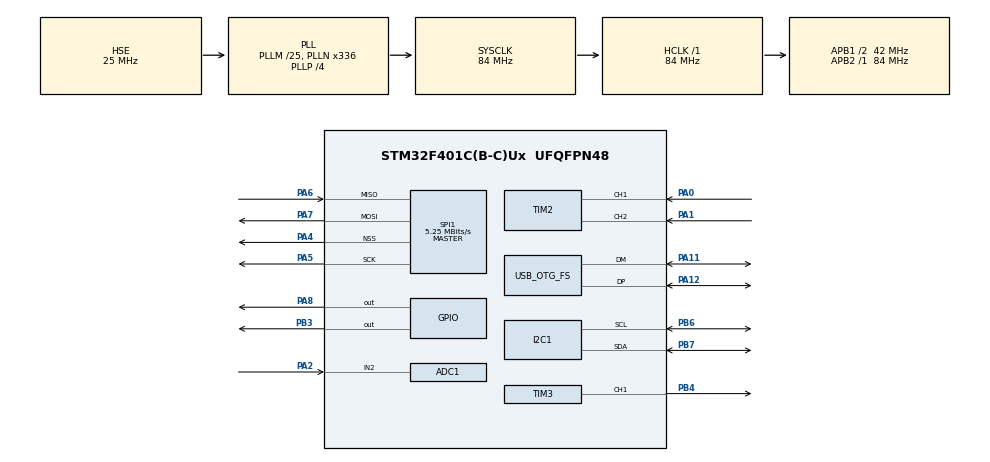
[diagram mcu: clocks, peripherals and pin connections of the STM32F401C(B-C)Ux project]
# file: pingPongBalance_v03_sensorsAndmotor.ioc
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ADC1.Channel-0\#ChannelRegularConversion=ADC_CHANNEL_2
ADC1.ContinuousConvMode=ENABLE
ADC1.DMAContinuousRequests=ENABLE
ADC1.EOCSelection=ADC_EOC_SEQ_CONV
ADC1.NbrOfConversion=1
ADC1.NbrOfConversionFlag=1
ADC1.Rank-0\#ChannelRegularConversion=1
ADC1.SamplingTime-0\#ChannelRegularConversion=ADC_SAMPLETIME_3CYCLES
ADC1.master=1
Dma.ADC1.0.Direction=DMA_PERIPH_TO_MEMORY
Dma.ADC1.0.FIFOMode=DMA_FIFOMODE_DISABLE
Dma.ADC1.0.Instance=DMA2_Stream0
Dma.ADC1.0.MemDataAlignment=DMA_MDATAALIGN_HALFWORD
Dma.ADC1.0.MemInc=DMA_MINC_ENABLE
Dma.ADC1.0.Mode=DMA_CIRCULAR
Dma.ADC1.0.PeriphDataAlignment=DMA_PDATAALIGN_HALFWORD
Dma.ADC1.0.PeriphInc=DMA_PINC_DISABLE
Dma.ADC1.0.Priority=DMA_PRIORITY_LOW
Dma.I2C1_TX.1.Direction=DMA_MEMORY_TO_PERIPH
Dma.I2C1_TX.1.FIFOMode=DMA_FIFOMODE_DISABLE
Dma.I2C1_TX.1.Instance=DMA1_Stream6
Dma.I2C1_TX.1.MemDataAlignment=DMA_MDATAALIGN_BYTE
Dma.I2C1_TX.1.MemInc=DMA_MINC_ENABLE
Dma.I2C1_TX.1.Mode=DMA_NORMAL
Dma.I2C1_TX.1.PeriphDataAlignment=DMA_PDATAALIGN_BYTE
Dma.I2C1_TX.1.PeriphInc=DMA_PINC_DISABLE
Dma.I2C1_TX.1.Priority=DMA_PRIORITY_LOW
Dma.Request0=ADC1
Dma.Request1=I2C1_TX
Dma.Request2=SPI1_RX
Dma.Request3=SPI1_TX
Dma.SPI1_RX.2.Direction=DMA_PERIPH_TO_MEMORY
Dma.SPI1_RX.2.FIFOMode=DMA_FIFOMODE_DISABLE
Dma.SPI1_RX.2.Instance=DMA2_Stream2
Dma.SPI1_RX.2.MemDataAlignment=DMA_MDATAALIGN_BYTE
Dma.SPI1_RX.2.MemInc=DMA_MINC_ENABLE
Dma.SPI1_RX.2.Mode=DMA_NORMAL
Dma.SPI1_RX.2.PeriphDataAlignment=DMA_PDATAALIGN_BYTE
Dma.SPI1_RX.2.PeriphInc=DMA_PINC_DISABLE
Dma.SPI1_RX.2.Priority=DMA_PRIORITY_LOW
Dma.SPI1_TX.3.Direction=DMA_MEMORY_TO_PERIPH
Dma.SPI1_TX.3.FIFOMode=DMA_FIFOMODE_DISABLE
Dma.SPI1_TX.3.Instance=DMA2_Stream3
Dma.SPI1_TX.3.MemDataAlignment=DMA_MDATAALIGN_BYTE
Dma.SPI1_TX.3.MemInc=DMA_MINC_ENABLE
Dma.SPI1_TX.3.Mode=DMA_NORMAL
Dma.SPI1_TX.3.PeriphDataAlignment=DMA_PDATAALIGN_BYTE
Dma.SPI1_TX.3.PeriphInc=DMA_PINC_DISABLE
Dma.SPI1_TX.3.Priority=DMA_PRIORITY_LOW
I2C1.I2C_Mode=I2C_Fast
Mcu.Family=STM32F4
Mcu.Name=STM32F401C(B-C)Ux
Mcu.Package=UFQFPN48
NVIC.ADC_IRQn=true\:0\:0\:false\:false\:true\:true\:true\:true
NVIC.DMA1_Stream6_IRQn=true\:0\:0\:false\:false\:true\:false\:true\:true
NVIC.DMA2_Stream0_IRQn=true\:0\:0\:false\:false\:true\:false\:true\:true
NVIC.DMA2_Stream2_IRQn=true\:0\:0\:false\:false\:true\:false\:true\:true
NVIC.DMA2_Stream3_IRQn=true\:0\:0\:false\:false\:true\:false\:true\:true
NVIC.I2C1_EV_IRQn=true\:0\:0\:false\:false\:true\:true\:true\:true
NVIC.OTG_FS_IRQn=true\:0\:0\:false\:false\:true\:false\:true\:true
NVIC.PriorityGroup=NVIC_PRIORITYGROUP_4
NVIC.SPI1_IRQn=true\:0\:0\:false\:false\:true\:true\:true\:true
NVIC.TIM1_TRG_COM_TIM11_IRQn=true\:15\:0\:false\:false\:true\:false\:true\:true
NVIC.TIM1_UP_TIM10_IRQn=true\:0\:0\:false\:false\:true\:true\:true\:true
NVIC.TimeBase=TIM1_TRG_COM_TIM11_IRQn
NVIC.TimeBaseIP=TIM11
PA0-WKUP.Signal=S_TIM2_CH1_ETR
PA1.Signal=S_TIM2_CH2
PA11.Mode=Device_Only
PA11.Signal=USB_OTG_FS_DM
PA12.Mode=Device_Only
PA12.Signal=USB_OTG_FS_DP
PA2.Signal=SharedAnalog_PA2
PA4.Mode=NSS_Signal_Hard_Output
PA4.Signal=SPI1_NSS
PA5.Mode=Full_Duplex_Master
PA5.Signal=SPI1_SCK
PA6.Mode=Full_Duplex_Master
PA6.Signal=SPI1_MISO
PA7.Mode=Full_Duplex_Master
PA7.Signal=SPI1_MOSI
PA8.Signal=GPIO_Output
PB3.Signal=GPIO_Output
PB4.Signal=S_TIM3_CH1
PB6.Mode=I2C
PB6.Signal=I2C1_SCL
PB7.Mode=I2C
PB7.Signal=I2C1_SDA
PC14-OSC32_IN.Mode=LSE-External-Oscillator
PC14-OSC32_IN.Signal=RCC_OSC32_IN
PC15-OSC32_OUT.Mode=LSE-External-Oscillator
PC15-OSC32_OUT.Signal=RCC_OSC32_OUT
PH0\ -\ OSC_IN.Mode=HSE-External-Oscillator
PH0\ -\ OSC_IN.Signal=RCC_OSC_IN
PH1\ -\ OSC_OUT.Mode=HSE-External-Oscillator
PH1\ -\ OSC_OUT.Signal=RCC_OSC_OUT
ProjectManager.HeapSize=0x200
ProjectManager.StackSize=0x400
ProjectManager.TargetToolchain=STM32CubeIDE
RCC.48MHZClocksFreq_Value=48000000
RCC.AHBFreq_Value=84000000
RCC.APB1CLKDivider=RCC_HCLK_DIV2
RCC.APB1Freq_Value=42000000
RCC.APB1TimFreq_Value=84000000
RCC.APB2Freq_Value=84000000
RCC.APB2TimFreq_Value=84000000
RCC.CortexFreq_Value=84000000
RCC.HCLKFreq_Value=84000000
RCC.HSE_VALUE=25000000
RCC.HSI_VALUE=16000000
RCC.PLLM=25
RCC.PLLN=336
RCC.PLLP=RCC_PLLP_DIV4
RCC.PLLQ=7
RCC.RCC_RTC_Clock_Source=RCC_RTCCLKSOURCE_LSE
RCC.RCC_RTC_Clock_SourceVirtual=RCC_RTCCLKSOURCE_LSE
RCC.SYSCLKFreq_VALUE=84000000
RCC.SYSCLKSource=RCC_SYSCLKSOURCE_PLLCLK
RCC.VCOOutputFreq_Value=336000000
SH.S_TIM2_CH1_ETR.0=TIM2_CH1,Encoder_Interface
SH.S_TIM2_CH2.0=TIM2_CH2,Encoder_Interface
SH.S_TIM3_CH1.0=TIM3_CH1,PWM Generation1 CH1
SH.SharedAnalog_PA2.0=GPIO_Analog
SH.SharedAnalog_PA2.1=ADC1_IN2,IN2
SPI1.BaudRatePrescaler=SPI_BAUDRATEPRESCALER_16
SPI1.CalculateBaudRate=5.25 MBits/s
SPI1.Direction=SPI_DIRECTION_2LINES
SPI1.Mode=SPI_MODE_MASTER
SPI1.VirtualNSS=VM_NSSHARD
SPI1.VirtualType=VM_MASTER
TIM10.Period=41999
TIM3.Channel-PWM\ Generation1\ CH1=TIM_CHANNEL_1
TIM3.Period=4199
USB_DEVICE.CLASS_NAME_FS=CDC
USB_DEVICE.VirtualMode=Cdc
USB_DEVICE.VirtualModeFS=Cdc_FS
USB_OTG_FS.VirtualMode=Device_Only
VP_CRC_VS_CRC.Mode=CRC_Activate
VP_SYS_VS_tim11.Mode=TIM11
VP_TIM10_VS_ClockSourceINT.Mode=Enable_Timer
VP_USB_DEVICE_VS_USB_DEVICE_CDC_FS.Mode=CDC_FS
board=custom

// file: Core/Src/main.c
/* USER CODE BEGIN Header */
/**
  ******************************************************************************
  * @file           : main.c
  * @brief          : Main program body
  ******************************************************************************
  * @attention
  *
  * Copyright (c) 2025 STMicroelectronics.
  * All rights reserved.
  *
  * This software is licensed under terms that can be found in the LICENSE file
  * in the root directory of this software component.
  * If no LICENSE file comes with this software, it is provided AS-IS.
  *
  ******************************************************************************
  */
/* USER CODE END Header */
#include "main.h"
#include "usb_device.h"

/* USER CODE BEGIN Includes */
#include "dist_adc.h"
#include "ssd1306.h"
#include "fonts.h"
#include "mt6816.h"
#include "encoder_speed.h"
#include "motor_driver.h"
#include "virtual_wall.h"
#include <math.h>
#include "pid.h"
#include "usb_telemetry.h"
#include <string.h>
#include <stdio.h>
#include "stm32f4xx_hal.h"   // or your MCU family header
#include "usbd_cdc_if.h"

/* USER CODE END Includes */

/* USER CODE BEGIN PD */
extern uint8_t CDC_Transmit(const void* Buf, uint32_t Len);
/* USER CODE END PD */

ADC_HandleTypeDef hadc1;
DMA_HandleTypeDef hdma_adc1;

CRC_HandleTypeDef hcrc;

I2C_HandleTypeDef hi2c1;
DMA_HandleTypeDef hdma_i2c1_tx;

SPI_HandleTypeDef hspi1;
DMA_HandleTypeDef hdma_spi1_rx;
DMA_HandleTypeDef hdma_spi1_tx;

TIM_HandleTypeDef htim2;
TIM_HandleTypeDef htim3;
TIM_HandleTypeDef htim10;

void SystemClock_Config(void);
static void MX_GPIO_Init(void);
static void MX_DMA_Init(void);
static void MX_CRC_Init(void);
static void MX_I2C1_Init(void);
static void MX_SPI1_Init(void);
static void MX_TIM2_Init(void);
static void MX_TIM3_Init(void);
static void MX_ADC1_Init(void);
static void MX_TIM10_Init(void);

/* USER CODE BEGIN 0 */
#define ANGLE_MIN_DEG   -25.0f
#define ANGLE_MAX_DEG    25.0f
#define MOTOR_TO_ANGLE_SIGN   (+1)
MotorDriver_HandleTypeDef motor;

EncoderSpeed_Handle_t enc;
uint16_t mt6816_zero = 8344 & 0x3FFF; //Set Zero position here
MT6816_Handle_t mt6816;

#define ADC_DMA_LEN  64
static uint16_t adc_dma_buf[ADC_DMA_LEN];
static AdcDistance_t adcDist;

// -------- Cascaded PID --------
PID_TypeDef pidPos;   // outer: ball position -> angle setpoint
PID_TypeDef pidAng;   // inner: angle -> motor command

// Hardcoded defaults (edit these)
static const float DEFAULT_POS_KP = 22.302f;
static const float DEFAULT_POS_KI = 0.0f;
static const float DEFAULT_POS_KD = 4.587f;

static const float DEFAULT_ANG_KP = 0.02115f;
static const float DEFAULT_ANG_KI = 0.02104f;
static const float DEFAULT_ANG_KD = 0.0001710f;

// Outer PID (position)
double pos_in = 0.0, pos_out = 0.0, pos_sp = 0.0;  // pos_out = ang_sp (deg)

// Inner PID (angle)
double ang_in = 0.0, ang_out = 0.0, ang_sp = 0.0;  // ang_out = motor cmd [-1..+1]

// Start gains (tune later)
static double Kp_pos = DEFAULT_POS_KP, Ki_pos = DEFAULT_POS_KI, Kd_pos = DEFAULT_POS_KD;   // d -> degrees
static double Kp_ang = DEFAULT_ANG_KP, Ki_ang = DEFAULT_ANG_KI, Kd_ang = DEFAULT_ANG_KD;   // degrees -> cmd

// Optional: outer deadband to reduce jitter near center
static const float POS_DEADBAND = 0.01f; // normalized d

int findCharPosition(const char *buffer, size_t size, char character) {
    for (size_t i = 0; i < size; ++i) {
        if (buffer[i] == character) {
            return (int)i;
        }
    }
    return -1; // '\r' not found
}

void USB_CDC_RxHandler(uint8_t *buf, uint32_t len)
{
	USB_Command_Process(buf, len);
}

void HAL_I2C_MemTxCpltCallback(I2C_HandleTypeDef *hi2c) {
    ssd1306_I2C_TxCpltCallback(hi2c);
}

static void OLED_Render(float V, float P, float A, float R)
{
    char buf[32];

    ssd1306_Fill(Black);

    // Title
    ssd1306_SetCursor(0, 0);
    ssd1306_WriteString("Ball Beam", Font_11x18, White);

    // Second line: V
    ssd1306_SetCursor(0, 16);
    snprintf(buf, sizeof(buf), "V = %.3f V", V);
    ssd1306_WriteString(buf, Font_7x10, White);

    // Third line: P
    ssd1306_SetCursor(0, 28);
    snprintf(buf, sizeof(buf), "P = %.3f", P);
    ssd1306_WriteString(buf, Font_7x10, White);

    // Fourth line: A
    ssd1306_SetCursor(0, 40);
    snprintf(buf, sizeof(buf), "A = %.3f deg", A);
    ssd1306_WriteString(buf, Font_7x10, White);

    // Fifth line: R
    ssd1306_SetCursor(0, 52);
    snprintf(buf, sizeof(buf), "R = %.3f rad/s", R);
    ssd1306_WriteString(buf, Font_7x10, White);

    // Start non-blocking DMA flush (returns immediately)
    (void)ssd1306_UpdateScreen_DMA(&hi2c1);
}

void HAL_SPI_TxRxCpltCallback(SPI_HandleTypeDef * hspi)
{
//		absEnc_spiDone = 1;// TX-RX Done
		MT6816_SpiTxRxCpltCallback(&mt6816, hspi);
}

int32_t MT6816_GetZeroed_Int32(uint16_t raw14)
{
    // 1) Force to 14-bit
    uint16_t raw = raw14 & 0x3FFF;

    // 2) Zero with wrap in 14 bits
    uint16_t z = (raw - mt6816_zero) & 0x3FFF;   // 0..16383

    // 3) Convert to signed around 0
    //    0..8191  ->  0..8191
    //    8192..16383 -> -8192..-1
    if (z >= 8192U)
        return (int32_t)z - 16384;   // 16384 = 1 << 14
    else
        return (int32_t)z;
}
/* USER CODE END 0 */

int main(void)
{

  /* MCU Configuration--------------------------------------------------------*/

  /* Reset of all peripherals, Initializes the Flash interface and the Systick. */
  HAL_Init();

  /* Configure the system clock */
  SystemClock_Config();

  /* Initialize all configured peripherals */
  MX_GPIO_Init();
  MX_DMA_Init();
  MX_CRC_Init();
  MX_USB_DEVICE_Init();
  MX_I2C1_Init();
  MX_SPI1_Init();
  MX_TIM2_Init();
  MX_TIM3_Init();
  MX_ADC1_Init();
  MX_TIM10_Init();
  /* USER CODE BEGIN 2 */
  //Motor driver init
  uint32_t period = __HAL_TIM_GET_AUTORELOAD(&htim3);
  MotorDriver_Init(&motor,
                   &htim3,
                   TIM_CHANNEL_1,
                   GPIOB,
                   GPIO_PIN_3,
                   period,
                   GPIO_PIN_RESET);   // "forward" = pin low
  MotorDriver_Start(&motor);

  //Timer encoder counter init
  HAL_TIM_Encoder_Start(&htim2, TIM_CHANNEL_ALL);
  EncoderSpeed_Init(&enc, &htim2,
                        98u,      // counts_per_rev
                        14.0f,      // gear_ratio
                        0.001f);    // dt_s (TIM10 period)
  EncoderSpeed_SetLowPass(&enc, 2.0f);     // Hz cutoff
  HAL_TIM_Base_Start_IT(&htim10);

  //Abs enc command building
  MT6816_Init(&mt6816, &hspi1, 3);

  // Init lcd using one of the stm32HAL i2c typedefs
  if (ssd1306_Init(&hi2c1) != 0) {
//    ; //comment error handler if you plug out the board
	Error_Handler();
  }
  HAL_Delay(1000);

  ssd1306_Fill(Black);
  if (!ssd1306_IsBusy()) {
      // draw text into SSD1306_Buffer...
      ssd1306_UpdateScreen_DMA(&hi2c1);
  }

  HAL_Delay(1000);

  // Preset scaling:
  // we want distance = 0..1 over that window, inverted (near=1, far=0), with mild nonlinearity.

  AdcDist_Init(&adcDist, &hadc1,
               adc_dma_buf, ADC_DMA_LEN,
			   /* v_ref */ 3.3f,
			   /* adc_bits */ 12,
               /* v_low */ 0.44f,
               /* v_mid */ 1.73f,   // if not between low & high, it will auto-set to midpoint
               /* v_high*/ 3.0f,
               /* invert */ 0,
               /* gamma  */ 1.0f,
               /* compute_period_ms (unused) */ 0);
  AdcDist_SetFilterAlpha(&adcDist, 0.05);
//  AdcDist_SetMedianWindow(&adcDist, 5);
  AdcDist_Start(&adcDist);

  // ============ Cascaded PID ============

  g_ang_kp = DEFAULT_ANG_KP;
  g_ang_ki = DEFAULT_ANG_KI;
  g_ang_kd = DEFAULT_ANG_KD;

  g_pos_kp = DEFAULT_POS_KP;
  g_pos_ki = DEFAULT_POS_KI;
  g_pos_kd = DEFAULT_POS_KD;

  // Outer: ball position -> desired angle (deg)
  PID2(&pidPos,
       &pos_in,
       &pos_out,
       &pos_sp,
       Kp_pos, Ki_pos, Kd_pos,
       _PID_CD_REVERSE);   // REVERSE matches what you observed for ball centering

  PID_SetOutputLimits(&pidPos, ANGLE_MIN_DEG, ANGLE_MAX_DEG);
  pidPos.SampleTime = 10;                 // outer slower (50 Hz is plenty)
  PID_SetMode(&pidPos, _PID_MODE_AUTOMATIC);

  // Inner: angle -> motor command [-1..+1]
  PID2(&pidAng,
       &ang_in,
       &ang_out,
       &ang_sp,
       Kp_ang, Ki_ang, Kd_ang,
       _PID_CD_DIRECT);

  PID_SetOutputLimits(&pidAng, -1.0, 1.0);  // start limited while tuning
  pidAng.SampleTime = 3;                     // inner faster (100 Hz)
  PID_SetMode(&pidAng, _PID_MODE_AUTOMATIC);

  // Targets
  pos_sp = 0.0;
  ang_sp = 0.0;

  uint32_t last_print = HAL_GetTick();
  uint32_t last_motorStep = HAL_GetTick();

  /* USER CODE END 2 */

  /* Infinite loop */
  while (1)
  {

    /* USER CODE BEGIN 3 */
    uint32_t now = HAL_GetTick();
    AdcDist_Update(&adcDist);
    MT6816_Update(&mt6816, now);

    /////////////////////////////

    if (now - last_print >= 20)
    {
      uint8_t buf[64];
	  last_print = now;
	  float v = AdcDist_GetVoltage(&adcDist);
	  float d = -(2*AdcDist_GetDistance(&adcDist)-1); //0-1, scaled to -1 to 1;

	  uint16_t A_raw;
	  MT6816_GetRaw(&mt6816, &A_raw);
	  float A = MT6816_GetZeroed_Int32(A_raw)*(360.0/16384.0);

	  float r = EncoderSpeed_GetOutputRadPerSecFilt(&enc);

	  if (!ssd1306_IsBusy()) {
	      OLED_Render(v, d, A, r);
	  }

	  int len = snprintf((char*)buf, sizeof(buf),
	      "D:%.3f,A:%.2f,W:%.3f\n",
	      d, A, r);

	  CDC_Transmit_FS(buf, (uint16_t)len);

    }
    if ((now - last_motorStep) >= 10)
    {
        last_motorStep = now;

        // ---- 1) Update ball position ----
        AdcDist_Update(&adcDist);
        float d = 2.0f * AdcDist_GetDistance(&adcDist) - 1.0f;

        // ---- 2) Read beam angle ----
        uint16_t A_raw;
        MT6816_GetRaw(&mt6816, &A_raw);
        float A = MT6816_GetZeroed_Int32(A_raw) * (360.0f / 16384.0f);

        // ---- 3) OUTER loop inputs ----
        float d_for_pid = d;
        if (fabsf(d_for_pid) < POS_DEADBAND) d_for_pid = 0.0f;

        float r = EncoderSpeed_GetOutputRadPerSecFilt(&enc);

        pos_in = (double)d_for_pid;
        pos_sp = (double)g_pos_sp;

		PID_SetTunings(&pidPos, g_pos_kp, g_pos_ki, g_pos_kd);

		// If outer gains all zero, clear memory
		if (fabsf(g_pos_kp) < 1e-6f && fabsf(g_pos_ki) < 1e-6f && fabsf(g_pos_kd) < 1e-6f)
		{
			pidPos.OutputSum = 0.0;
			pidPos.LastInput = pos_in;
			pos_out = 0.0;
		}

        PID_Compute(&pidPos);
        ang_sp = pos_out;

        if (!g_outer_loop_armed)
        {
            ang_sp = 0.0;
            // Clear outer loop integrator to prevent windup
            pidPos.OutputSum = 0.0;
            pidPos.LastInput = pos_in;
        }

        // Slew-rate limit on ang_sp (deg per 10ms tick)
        static float ang_sp_f = 0.0f;
        const float MAX_STEP_DEG = 1.0f; // try 0.5..2.0

        float target = (float)ang_sp;
        float delta  = target - ang_sp_f;

        if (delta >  MAX_STEP_DEG) delta =  MAX_STEP_DEG;
        if (delta < -MAX_STEP_DEG) delta = -MAX_STEP_DEG;

        ang_sp_f += delta;
        ang_sp = (double)ang_sp_f;

        // Safety clamp
        if (ang_sp > ANGLE_MAX_DEG) ang_sp = ANGLE_MAX_DEG;
        if (ang_sp < ANGLE_MIN_DEG) ang_sp = ANGLE_MIN_DEG;

        // ---- 6) INNER loop input ----
        ang_in = (double)A;

        // ---- 7) Update INNER tunings if changed ----
        static float last_ang_kp = -1.0f, last_ang_ki = -1.0f, last_ang_kd = -1.0f;
        if (g_ang_kp != last_ang_kp || g_ang_ki != last_ang_ki || g_ang_kd != last_ang_kd)
        {
            last_ang_kp = g_ang_kp;
            last_ang_ki = g_ang_ki;
            last_ang_kd = g_ang_kd;

            PID_SetTunings(&pidAng, g_ang_kp, g_ang_ki, g_ang_kd);

            // If inner gains all zero, clear memory + force output 0
            if (fabsf(g_ang_kp) < 1e-6f && fabsf(g_ang_ki) < 1e-6f && fabsf(g_ang_kd) < 1e-6f)
            {
                pidAng.OutputSum = 0.0;
                pidAng.LastInput = ang_in;
                ang_out = 0.0;
            }
        }

        // ---- 8) Compute INNER and drive motor ----
        if (PID_Compute(&pidAng))
        {
            float cmd = (float)ang_out;   // expected in [-1..+1] if pidAng limits are set that way

            float safe_cmd = VirtualWall_Apply(cmd,
                                               A,
                                               ANGLE_MIN_DEG,
                                               ANGLE_MAX_DEG,
                                               MOTOR_TO_ANGLE_SIGN);

            // If wall clamps to zero while we are trying to push, kill integrators & brake
            if (safe_cmd == 0.0f && cmd != 0.0f)
            {
                pidAng.OutputSum = 0.0;
                pidAng.LastInput = ang_in;

                pidPos.OutputSum = 0.0;
                pidPos.LastInput = pos_in;

                float w = EncoderSpeed_GetOutputRadPerSecFilt(&enc);
                float brake = -0.2f * w;
                if (brake >  1.0f) brake =  1.0f;
                if (brake < -1.0f) brake = -1.0f;
                MotorDriver_SetSpeed(&motor, brake);
            }
            else
            {
                MotorDriver_SetSpeed(&motor, safe_cmd);
            }
        }
        else
        {
            // Optional: if PID didn't compute this tick, keep applying last command or do nothing
            // MotorDriver_SetSpeed(&motor, last_cmd);
        }
    }

  }

  /* USER CODE END 3 */
}

void SystemClock_Config(void)
{
  RCC_OscInitTypeDef RCC_OscInitStruct = {0};
  RCC_ClkInitTypeDef RCC_ClkInitStruct = {0};

  /** Configure the main internal regulator output voltage
  */
  __HAL_RCC_PWR_CLK_ENABLE();
  __HAL_PWR_VOLTAGESCALING_CONFIG(PWR_REGULATOR_VOLTAGE_SCALE2);

  /** Initializes the RCC Oscillators according to the specified parameters
  * in the RCC_OscInitTypeDef structure.
  */
  RCC_OscInitStruct.OscillatorType = RCC_OSCILLATORTYPE_HSE;
  RCC_OscInitStruct.HSEState = RCC_HSE_ON;
  RCC_OscInitStruct.PLL.PLLState = RCC_PLL_ON;
  RCC_OscInitStruct.PLL.PLLSource = RCC_PLLSOURCE_HSE;
  RCC_OscInitStruct.PLL.PLLM = 25;
  RCC_OscInitStruct.PLL.PLLN = 336;
  RCC_OscInitStruct.PLL.PLLP = RCC_PLLP_DIV4;
  RCC_OscInitStruct.PLL.PLLQ = 7;
  if (HAL_RCC_OscConfig(&RCC_OscInitStruct) != HAL_OK)
  {
    Error_Handler();
  }

  /** Initializes the CPU, AHB and APB buses clocks
  */
  RCC_ClkInitStruct.ClockType = RCC_CLOCKTYPE_HCLK|RCC_CLOCKTYPE_SYSCLK
                              |RCC_CLOCKTYPE_PCLK1|RCC_CLOCKTYPE_PCLK2;
  RCC_ClkInitStruct.SYSCLKSource = RCC_SYSCLKSOURCE_PLLCLK;
  RCC_ClkInitStruct.AHBCLKDivider = RCC_SYSCLK_DIV1;
  RCC_ClkInitStruct.APB1CLKDivider = RCC_HCLK_DIV2;
  RCC_ClkInitStruct.APB2CLKDivider = RCC_HCLK_DIV1;

  if (HAL_RCC_ClockConfig(&RCC_ClkInitStruct, FLASH_LATENCY_2) != HAL_OK)
  {
    Error_Handler();
  }
}

static void MX_ADC1_Init(void)
{

  ADC_ChannelConfTypeDef sConfig = {0};

  /** Configure the global features of the ADC (Clock, Resolution, Data Alignment and number of conversion)
  */
  hadc1.Instance = ADC1;
  hadc1.Init.ClockPrescaler = ADC_CLOCK_SYNC_PCLK_DIV4;
  hadc1.Init.Resolution = ADC_RESOLUTION_12B;
  hadc1.Init.ScanConvMode = DISABLE;
  hadc1.Init.ContinuousConvMode = ENABLE;
  hadc1.Init.DiscontinuousConvMode = DISABLE;
  hadc1.Init.ExternalTrigConvEdge = ADC_EXTERNALTRIGCONVEDGE_NONE;
  hadc1.Init.ExternalTrigConv = ADC_SOFTWARE_START;
  hadc1.Init.DataAlign = ADC_DATAALIGN_RIGHT;
  hadc1.Init.NbrOfConversion = 1;
  hadc1.Init.DMAContinuousRequests = ENABLE;
  hadc1.Init.EOCSelection = ADC_EOC_SEQ_CONV;
  if (HAL_ADC_Init(&hadc1) != HAL_OK)
  {
    Error_Handler();
  }

  /** Configure for the selected ADC regular channel its corresponding rank in the sequencer and its sample time.
  */
  sConfig.Channel = ADC_CHANNEL_2;
  sConfig.Rank = 1;
  sConfig.SamplingTime = ADC_SAMPLETIME_3CYCLES;
  if (HAL_ADC_ConfigChannel(&hadc1, &sConfig) != HAL_OK)
  {
    Error_Handler();
  }

}

static void MX_CRC_Init(void)
{

  hcrc.Instance = CRC;
  if (HAL_CRC_Init(&hcrc) != HAL_OK)
  {
    Error_Handler();
  }

}

static void MX_I2C1_Init(void)
{

  hi2c1.Instance = I2C1;
  hi2c1.Init.ClockSpeed = 400000;
  hi2c1.Init.DutyCycle = I2C_DUTYCYCLE_2;
  hi2c1.Init.OwnAddress1 = 0;
  hi2c1.Init.AddressingMode = I2C_ADDRESSINGMODE_7BIT;
  hi2c1.Init.DualAddressMode = I2C_DUALADDRESS_DISABLE;
  hi2c1.Init.OwnAddress2 = 0;
  hi2c1.Init.GeneralCallMode = I2C_GENERALCALL_DISABLE;
  hi2c1.Init.NoStretchMode = I2C_NOSTRETCH_DISABLE;
  if (HAL_I2C_Init(&hi2c1) != HAL_OK)
  {
    Error_Handler();
  }

}

static void MX_SPI1_Init(void)
{

  /* SPI1 parameter configuration*/
  hspi1.Instance = SPI1;
  hspi1.Init.Mode = SPI_MODE_MASTER;
  hspi1.Init.Direction = SPI_DIRECTION_2LINES;
  hspi1.Init.DataSize = SPI_DATASIZE_8BIT;
  hspi1.Init.CLKPolarity = SPI_POLARITY_LOW;
  hspi1.Init.CLKPhase = SPI_PHASE_1EDGE;
  hspi1.Init.NSS = SPI_NSS_HARD_OUTPUT;
  hspi1.Init.BaudRatePrescaler = SPI_BAUDRATEPRESCALER_16;
  hspi1.Init.FirstBit = SPI_FIRSTBIT_MSB;
  hspi1.Init.TIMode = SPI_TIMODE_DISABLE;
  hspi1.Init.CRCCalculation = SPI_CRCCALCULATION_DISABLE;
  hspi1.Init.CRCPolynomial = 10;
  if (HAL_SPI_Init(&hspi1) != HAL_OK)
  {
    Error_Handler();
  }

}

static void MX_TIM2_Init(void)
{

  TIM_Encoder_InitTypeDef sConfig = {0};
  TIM_MasterConfigTypeDef sMasterConfig = {0};

  htim2.Instance = TIM2;
  htim2.Init.Prescaler = 0;
  htim2.Init.CounterMode = TIM_COUNTERMODE_UP;
  htim2.Init.Period = 4294967295;
  htim2.Init.ClockDivision = TIM_CLOCKDIVISION_DIV1;
  htim2.Init.AutoReloadPreload = TIM_AUTORELOAD_PRELOAD_DISABLE;
  sConfig.EncoderMode = TIM_ENCODERMODE_TI1;
  sConfig.IC1Polarity = TIM_ICPOLARITY_RISING;
  sConfig.IC1Selection = TIM_ICSELECTION_DIRECTTI;
  sConfig.IC1Prescaler = TIM_ICPSC_DIV1;
  sConfig.IC1Filter = 0;
  sConfig.IC2Polarity = TIM_ICPOLARITY_RISING;
  sConfig.IC2Selection = TIM_ICSELECTION_DIRECTTI;
  sConfig.IC2Prescaler = TIM_ICPSC_DIV1;
  sConfig.IC2Filter = 0;
  if (HAL_TIM_Encoder_Init(&htim2, &sConfig) != HAL_OK)
  {
    Error_Handler();
  }
  sMasterConfig.MasterOutputTrigger = TIM_TRGO_RESET;
  sMasterConfig.MasterSlaveMode = TIM_MASTERSLAVEMODE_DISABLE;
  if (HAL_TIMEx_MasterConfigSynchronization(&htim2, &sMasterConfig) != HAL_OK)
  {
    Error_Handler();
  }

}

static void MX_TIM3_Init(void)
{

  TIM_MasterConfigTypeDef sMasterConfig = {0};
  TIM_OC_InitTypeDef sConfigOC = {0};

  htim3.Instance = TIM3;
  htim3.Init.Prescaler = 0;
  htim3.Init.CounterMode = TIM_COUNTERMODE_UP;
  htim3.Init.Period = 4199;
  htim3.Init.ClockDivision = TIM_CLOCKDIVISION_DIV1;
  htim3.Init.AutoReloadPreload = TIM_AUTORELOAD_PRELOAD_DISABLE;
  if (HAL_TIM_PWM_Init(&htim3) != HAL_OK)
  {
    Error_Handler();
  }
  sMasterConfig.MasterOutputTrigger = TIM_TRGO_RESET;
  sMasterConfig.MasterSlaveMode = TIM_MASTERSLAVEMODE_DISABLE;
  if (HAL_TIMEx_MasterConfigSynchronization(&htim3, &sMasterConfig) != HAL_OK)
  {
    Error_Handler();
  }
  sConfigOC.OCMode = TIM_OCMODE_PWM1;
  sConfigOC.Pulse = 0;
  sConfigOC.OCPolarity = TIM_OCPOLARITY_HIGH;
  sConfigOC.OCFastMode = TIM_OCFAST_DISABLE;
  if (HAL_TIM_PWM_ConfigChannel(&htim3, &sConfigOC, TIM_CHANNEL_1) != HAL_OK)
  {
    Error_Handler();
  }
  HAL_TIM_MspPostInit(&htim3);

}

static void MX_TIM10_Init(void)
{

  htim10.Instance = TIM10;
  htim10.Init.Prescaler = 0;
  htim10.Init.CounterMode = TIM_COUNTERMODE_UP;
  htim10.Init.Period = 41999;
  htim10.Init.ClockDivision = TIM_CLOCKDIVISION_DIV1;
  htim10.Init.AutoReloadPreload = TIM_AUTORELOAD_PRELOAD_DISABLE;
  if (HAL_TIM_Base_Init(&htim10) != HAL_OK)
  {
    Error_Handler();
  }

}

static void MX_DMA_Init(void)
{

  /* DMA controller clock enable */
  __HAL_RCC_DMA2_CLK_ENABLE();
  __HAL_RCC_DMA1_CLK_ENABLE();

  /* DMA interrupt init */
  /* DMA1_Stream6_IRQn interrupt configuration */
  HAL_NVIC_SetPriority(DMA1_Stream6_IRQn, 0, 0);
  HAL_NVIC_EnableIRQ(DMA1_Stream6_IRQn);
  /* DMA2_Stream0_IRQn interrupt configuration */
  HAL_NVIC_SetPriority(DMA2_Stream0_IRQn, 0, 0);
  HAL_NVIC_EnableIRQ(DMA2_Stream0_IRQn);
  /* DMA2_Stream2_IRQn interrupt configuration */
  HAL_NVIC_SetPriority(DMA2_Stream2_IRQn, 0, 0);
  HAL_NVIC_EnableIRQ(DMA2_Stream2_IRQn);
  /* DMA2_Stream3_IRQn interrupt configuration */
  HAL_NVIC_SetPriority(DMA2_Stream3_IRQn, 0, 0);
  HAL_NVIC_EnableIRQ(DMA2_Stream3_IRQn);

}

static void MX_GPIO_Init(void)
{
  GPIO_InitTypeDef GPIO_InitStruct = {0};

  /* GPIO Ports Clock Enable */
  __HAL_RCC_GPIOC_CLK_ENABLE();
  __HAL_RCC_GPIOH_CLK_ENABLE();
  __HAL_RCC_GPIOA_CLK_ENABLE();
  __HAL_RCC_GPIOB_CLK_ENABLE();

  /*Configure GPIO pin Output Level */
  HAL_GPIO_WritePin(GPIOA, GPIO_PIN_8, GPIO_PIN_RESET);

  /*Configure GPIO pin Output Level */
  HAL_GPIO_WritePin(GPIOB, GPIO_PIN_3, GPIO_PIN_RESET);

  /*Configure GPIO pin : PA8 */
  GPIO_InitStruct.Pin = GPIO_PIN_8;
  GPIO_InitStruct.Mode = GPIO_MODE_OUTPUT_PP;
  GPIO_InitStruct.Pull = GPIO_NOPULL;
  GPIO_InitStruct.Speed = GPIO_SPEED_FREQ_LOW;
  HAL_GPIO_Init(GPIOA, &GPIO_InitStruct);

  /*Configure GPIO pin : PB3 */
  GPIO_InitStruct.Pin = GPIO_PIN_3;
  GPIO_InitStruct.Mode = GPIO_MODE_OUTPUT_PP;
  GPIO_InitStruct.Pull = GPIO_NOPULL;
  GPIO_InitStruct.Speed = GPIO_SPEED_FREQ_LOW;
  HAL_GPIO_Init(GPIOB, &GPIO_InitStruct);

}

void HAL_TIM_PeriodElapsedCallback(TIM_HandleTypeDef *htim)
{
  /* USER CODE BEGIN Callback 0 */
  if (htim->Instance == TIM10)   // TIM10 update event
  {
      EncoderSpeed_Update(&enc);
      AdcDist_Update(&adcDist);
  }
  /* USER CODE END Callback 0 */
  if (htim->Instance == TIM11)
  {
    HAL_IncTick();
  }
}

void Error_Handler(void)
{
  __disable_irq();
  while (1)
  {
  }
}
